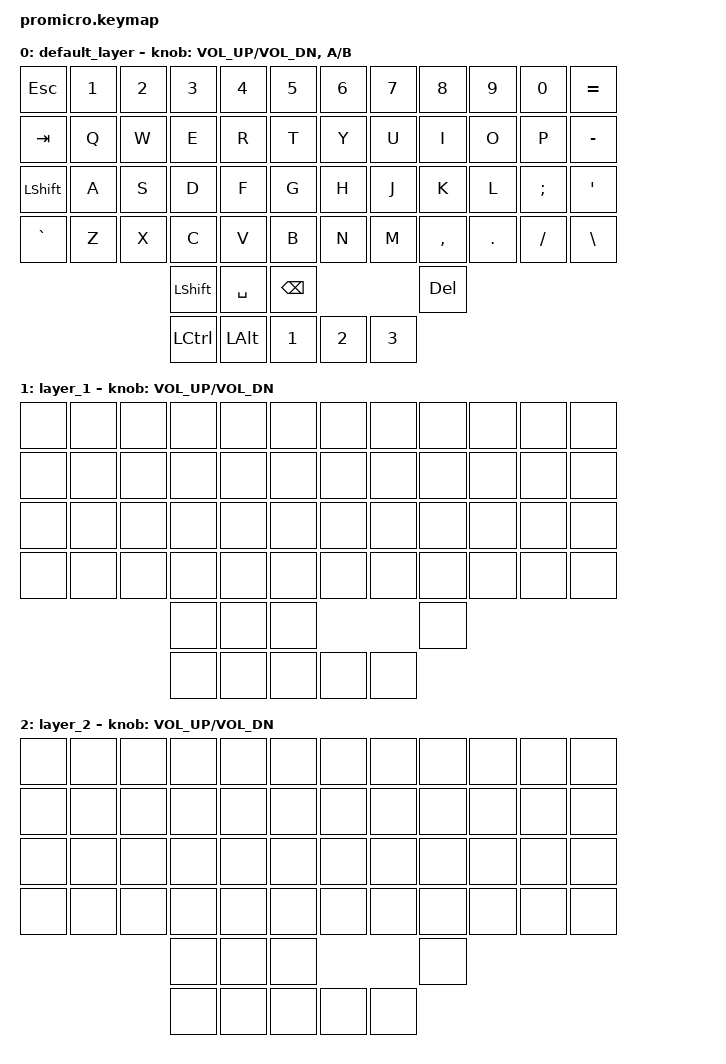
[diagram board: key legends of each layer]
/*
 * Copyright (c) 2020 The ZMK Contributors
 *
 * SPDX-License-Identifier: MIT
 */

#include <dt-bindings/led/led.h>
#include <behaviors/mouse_keys.dtsi>
#include <behaviors.dtsi>
#include <dt-bindings/zmk/keys.h>

/ {
    keymap {
        compatible = "zmk,keymap";

        default_layer {
            bindings = <
&kp ESC    &kp N1  &kp N2  &kp N3     &kp N4     &kp N5      &kp N6  &kp N7  &kp N8     &kp N9   &kp N0    &kp EQUAL
&kp TAB    &kp Q   &kp W   &kp E      &kp R      &kp T       &kp Y   &kp U   &kp I      &kp O    &kp P     &kp MINUS
&kp LSHFT  &kp A   &kp S   &kp D      &kp F      &kp G       &kp H   &kp J   &kp K      &kp L    &kp SEMI  &kp SQT
&kp GRAVE  &kp Z   &kp X   &kp C      &kp V      &kp B       &kp N   &kp M   &kp COMMA  &kp DOT  &kp FSLH  &kp BSLH
                           &kp LSHFT  &kp SPACE  &kp BSPC                    &kp DEL
                           &kp LCTRL  &kp LALT   &kp N1      &kp N2  &kp N3
            >;

            sensor-bindings =
                <&inc_dec_kp C_VOL_UP C_VOL_DN>,
                <&inc_dec_kp A B>;
        };

        layer_1 {
            bindings = <
&none  &none  &none  &none  &none  &none    &none  &none  &none  &none  &none  &none
&none  &none  &none  &none  &none  &none    &none  &none  &none  &none  &none  &none
&none  &none  &none  &none  &none  &none    &none  &none  &none  &none  &none  &none
&none  &none  &none  &none  &none  &none    &none  &none  &none  &none  &none  &none
                     &none  &none  &none                  &none
                     &none  &none  &none    &none  &none
            >;

            sensor-bindings = <&inc_dec_kp C_VOL_UP C_VOL_DN>;
        };

        layer_2 {
            bindings = <
&none  &none  &none  &none  &none  &none    &none  &none  &none  &none  &none  &none
&none  &none  &none  &none  &none  &none    &none  &none  &none  &none  &none  &none
&none  &none  &none  &none  &none  &none    &none  &none  &none  &none  &none  &none
&none  &none  &none  &none  &none  &none    &none  &none  &none  &none  &none  &none
                     &none  &none  &none                  &none
                     &none  &none  &none    &none  &none
            >;

            sensor-bindings = <&inc_dec_kp C_VOL_UP C_VOL_DN>;
        };
    };
};
